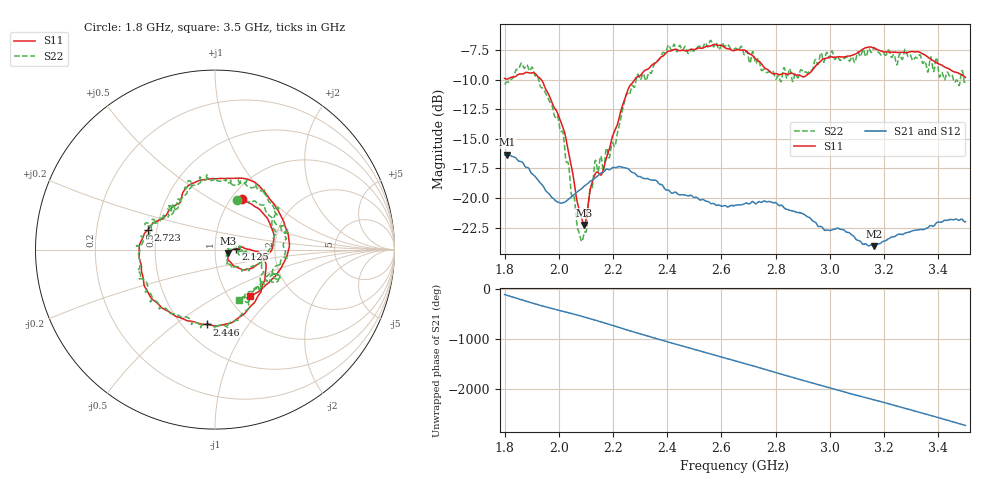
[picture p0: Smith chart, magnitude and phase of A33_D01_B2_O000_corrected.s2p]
! Created with skrf 1.9.0 (http://scikit-rf.org).
# Hz S RI R 50.0
!freq ReS11 ImS11 ReS21 ImS21 ReS12 ImS12 ReS22 ImS22
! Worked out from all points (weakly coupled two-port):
!   1601 points, 1.8 GHz to 3.5 GHz, reference 50 ohm
!   highest |S21| = -16.32 dB at 1.81 GHz (marker M1); lowest = -24.1 dB at 3.163 GHz (marker M2)
!   lowest |S11| = -22.3 dB at 2.093 GHz (marker M3), VSWR 1.17, Z = 57.9 - j2.51 ohm
!   |S11| at or under -10 dB: 1.936 GHz to 2.279 GHz (343.8 MHz wide, 16.3 % of centre)
!   |S22| runs from -23.7 to -6.7 dB; largest |S21 - S12| = 0.0029
!   S11 on the Smith chart (normalised r, x): 1.8 GHz: 1.12, +0.71; 2.125 GHz: 1.27, +0.01; 2.446 GHz: 0.65, -0.66; 2.723 GHz: 0.45, +0.12; 3.5 GHz: 1.25, -0.72
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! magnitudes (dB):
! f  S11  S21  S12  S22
! 1.8 GHz  -9.9  -16.4  -16.4  -10.4
! 1.81 GHz  -9.9  -16.3  -16.3  -10.2
! 1.882 GHz  -9.4  -17.4  -17.4  -8.7
! 1.968 GHz  -11.5  -19.8  -19.8  -11.9
! 2.014 GHz  -13.9  -20.4  -20.4  -14.4
! 2.084 GHz  -21.7  -19.2  -19.2  -23.6
! 2.093 GHz  -22.3  -19.0  -19.0  -23.0
! 2.125 GHz  -18.5  -18.5  -18.5  -18.9
! 2.161 GHz  -17.8  -17.8  -17.8  -17.3
! 2.208 GHz  -14.2  -17.4  -17.4  -15.6
! 2.26 GHz  -10.6  -17.6  -17.6  -11.3
! 2.367 GHz  -8.3  -18.7  -18.7  -8.3
! 2.446 GHz  -7.5  -19.7  -19.7  -7.1
! 2.65 GHz  -7.5  -20.6  -20.6  -7.3
! 2.723 GHz  -8.2  -20.4  -20.4  -8.4
! 2.814 GHz  -9.6  -20.6  -20.6  -9.8
! 2.934 GHz  -9.3  -21.9  -21.9  -9.2
! 2.967 GHz  -8.4  -22.4  -22.5  -7.7
! 3.163 GHz  -7.3  -24.1  -24.0  -7.3
! 3.217 GHz  -7.7  -23.4  -23.4  -7.5
! 3.329 GHz  -7.6  -22.7  -22.7  -7.9
! 3.5 GHz  -9.8  -22.0  -22.0  -10.2
